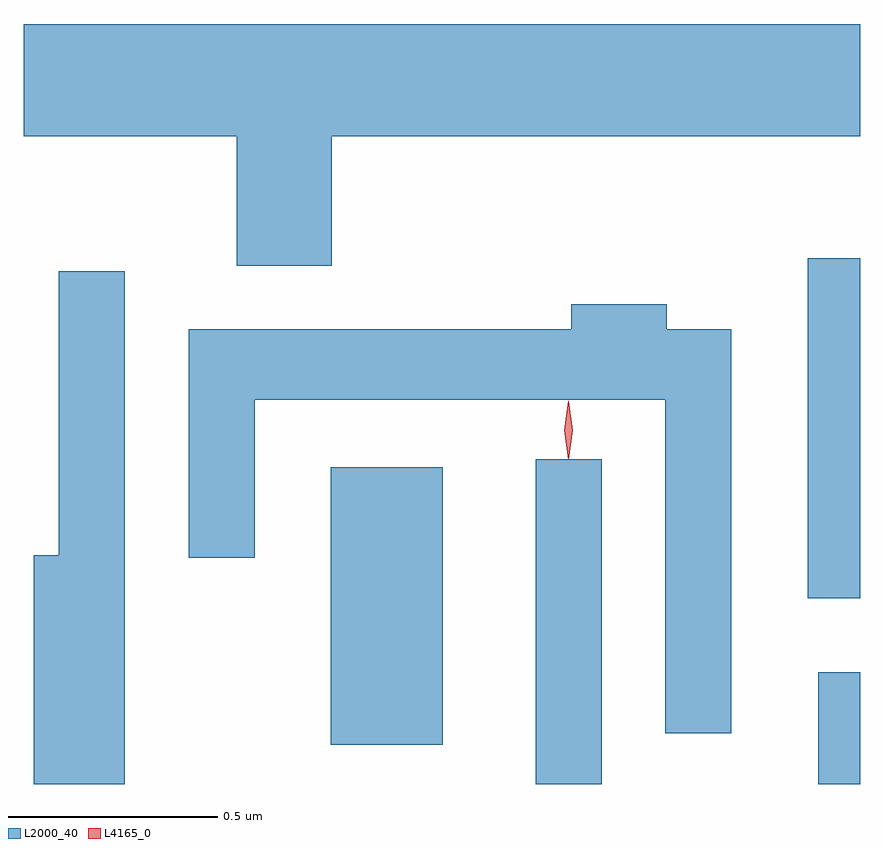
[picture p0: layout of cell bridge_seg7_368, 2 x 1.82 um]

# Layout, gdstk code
import gdstk
lib = gdstk.Library(unit=1e-6, precision=1e-09)
def R(c, l, rs):  # rectangles x0, y0, x1, y1
    for r in rs: c.add(gdstk.rectangle(r[:2], r[2:], *l))
def P(c, l, *ps):  # polygons
    for p in ps: c.add(gdstk.Polygon(p, *l))
L2000_40 = (2000, 40)
L4165_0 = (4165, 0)

bridge_seg7_368 = lib.new_cell('bridge_seg7_368')
R(bridge_seg7_368, L2000_40, [(1096.356,1750.507,1096.514,1751.283), (1097.031,1750.507,1097.132,1750.774), (1095.866,1750.601,1096.134,1751.264), (1097.006,1750.951,1097.132,1751.764)])
P(bridge_seg7_368, L2000_40, [(1095.869,1752.056),(1097.132,1752.056),(1097.132,1752.324),(1095.132,1752.324),(1095.132,1752.056),(1095.641,1752.056),(1095.641,1751.746),(1095.869,1751.746)],
  [(1095.374,1751.733),(1095.216,1751.733),(1095.216,1751.054),(1095.156,1751.054),(1095.156,1750.507),(1095.374,1750.507)],
  [(1096.824,1751.594),(1096.669,1751.594),(1096.669,1751.654),(1096.441,1751.654),(1096.441,1751.594),(1095.526,1751.594),(1095.526,1751.048),(1095.684,1751.048),(1095.684,1751.426),(1096.666,1751.426),(1096.666,1750.628),(1096.824,1750.628)])
P(bridge_seg7_368, L4165_0, [(1096.434,1751.284),(1096.434,1751.284),(1096.424,1751.353),(1096.434,1751.422),(1096.434,1751.423),(1096.435,1751.422),(1096.444,1751.353),(1096.435,1751.284)])

lib.write_gds('bridge_seg7_368.gds')
